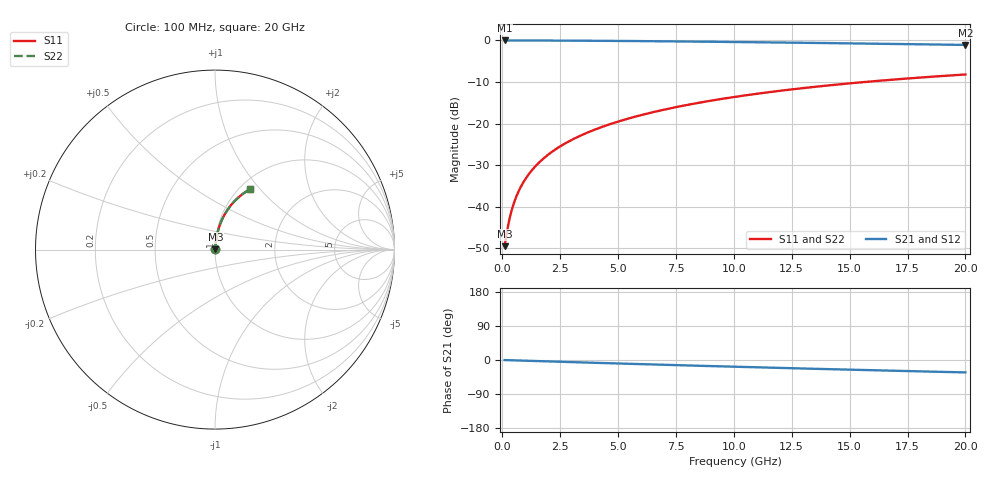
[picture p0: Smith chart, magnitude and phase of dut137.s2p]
! Touchstone file exported from HFSS 2024.1.0
!  File:  C:/UserFiles/LocalFiles/RDL_TSV_Batchsim/temp_RDL_top_137_1778684598.aedt
!  Generated:  11:05:54 PM May 13, 2026
!  Design:  RDL_top
!  Project:  temp_RDL_top_137_1778684598
!  Setup:  Setup1
!  Solution:  Sweep
! Variables:
!  dtsv = 10.80580581um
!  hbump = 3um
!  htsv = 79.47um
!  ldown = 100um
!  lrdl = 397.71um
!  p = 40
!  p1 = 52.04um
!  rhole = 1um
!  t = 450um
!  tdown = 3.915915916um
!  trdl = 4.5um
!  wdown = 15.38538539um
!  wrdl = 12.67um
# GHz S MA R 50.000000
! Terminal data exported
! Port[1] = Box2_T1
! Port[2] = Box2_T2
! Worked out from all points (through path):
!   200 points, 100 MHz to 20 GHz, reference 50 ohm
!   highest |S21| = -0.02 dB at 100 MHz (marker M1); lowest = -1.1 dB at 20 GHz (marker M2)
!   group delay of S21, straight-line fit = 4.54 ps
!   lowest |S11| = -49.4 dB at 100 MHz (marker M3), VSWR 1.01, Z = 50.3 + j0.221 ohm
!   |S11| at or under -10 dB: start of sweep to 15.66 GHz
!   |S22| runs from -49.4 to -8.2 dB; largest |S21 - S12| = 2.6e-15
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0.1  0.003371 40.6  0.9974 -0.2  0.9974 -0.2  0.003371 40.6
! Gamma 0 0 0 0
! Port Impedance 50 0 50 0
0.2  0.005031 59.6  0.9974 -0.4  0.9974 -0.4  0.00503 59.6
0.3  0.006966 68.3  0.9973 -0.6  0.9973 -0.6  0.006964 68.3
0.4  0.008999 73.1  0.9972 -0.8  0.9972 -0.8  0.008997 73.1
0.5  0.01107 76.0  0.9971 -1.0  0.9971 -1.0  0.01107 76.0
0.6  0.01317 77.9  0.997 -1.1  0.997 -1.1  0.01317 77.9
0.8  0.0174 80.3  0.9968 -1.5  0.9968 -1.5  0.01739 80.2
1.1  0.02375 81.9  0.9964 -2.1  0.9964 -2.1  0.02375 81.9
1.5  0.03222 82.9  0.9958 -2.8  0.9958 -2.8  0.03222 82.9
1.8  0.03855 83.1  0.9953 -3.4  0.9953 -3.4  0.03855 83.1
2.1  0.04488 83.2  0.9947 -3.9  0.9947 -3.9  0.04488 83.2
2.7  0.0575 83.1  0.9931 -5.0  0.9931 -5.0  0.0575 83.1
3.5  0.0743 82.5  0.9906 -6.5  0.9906 -6.5  0.0743 82.5
4.2  0.08897 81.8  0.988 -7.8  0.988 -7.8  0.08897 81.8
5  0.1057 81.0  0.9845 -9.2  0.9845 -9.2  0.1057 81.0
5.9  0.1245 79.9  0.9802 -10.8  0.9802 -10.8  0.1245 79.9
6.8  0.1432 78.7  0.9755 -12.4  0.9755 -12.4  0.1432 78.7
8.3  0.1741 76.7  0.9668 -14.9  0.9668 -14.9  0.1741 76.7
10.1  0.2105 74.1  0.9555 -17.9  0.9555 -17.9  0.2105 74.1
13.4  0.2748 69.3  0.9325 -23.1  0.9325 -23.1  0.2748 69.3
16.7  0.3346 64.5  0.9076 -28.1  0.9076 -28.1  0.3346 64.5
20  0.3893 59.9  0.8814 -32.8  0.8814 -32.8  0.3892 59.9
